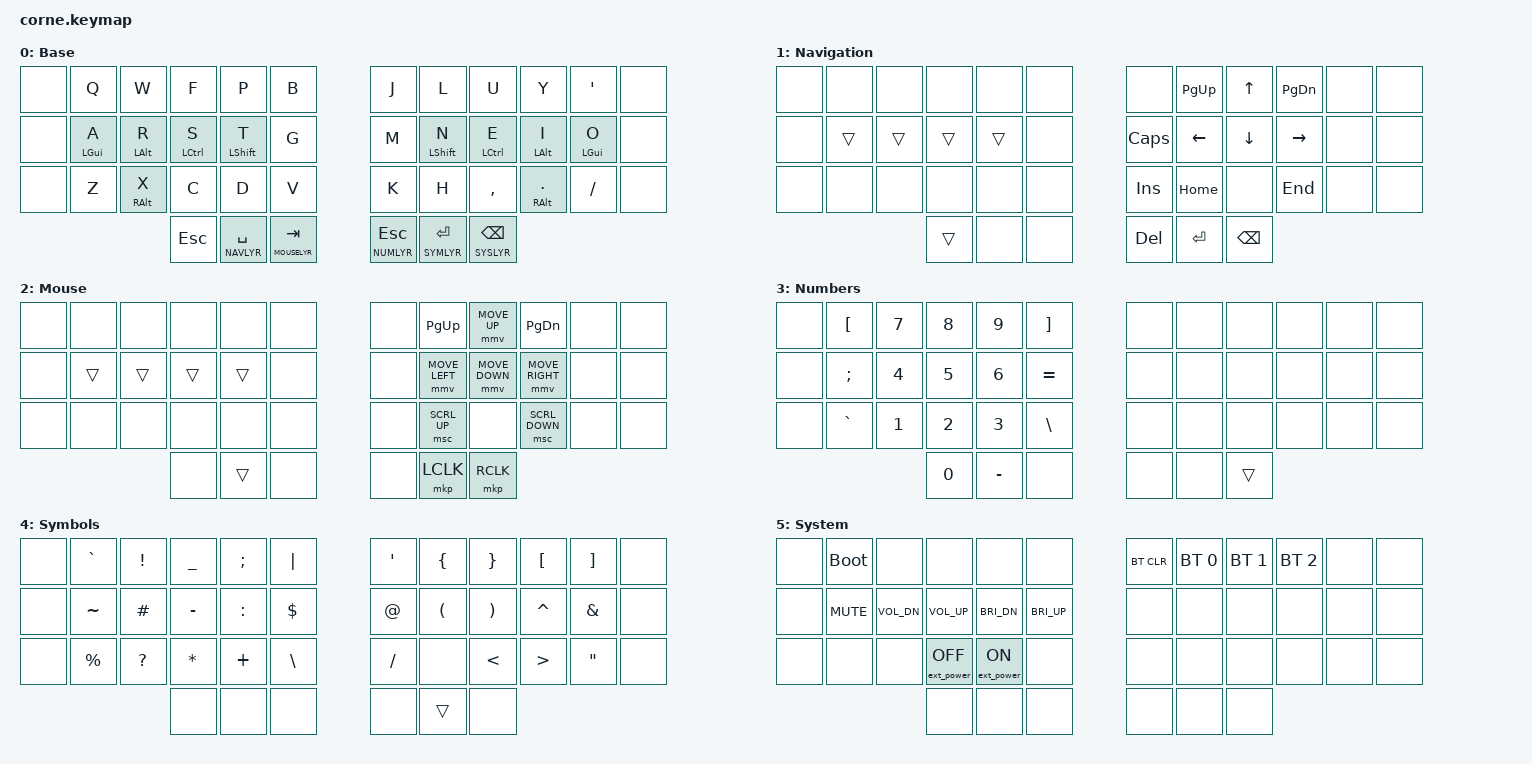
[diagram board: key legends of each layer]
// Mouse movement settings
#define ZMK_POINTING_DEFAULT_MOVE_VAL 1500  // default: 600
#define ZMK_POINTING_DEFAULT_SCRL_VAL 10    // default: 10

#include <behaviors.dtsi>
#include <dt-bindings/zmk/keys.h>
#include <dt-bindings/zmk/bt.h>
#include <dt-bindings/zmk/rgb.h>
#include <dt-bindings/zmk/outputs.h>
#include <dt-bindings/zmk/pointing.h>
#include <dt-bindings/zmk/ext_power.h>

// Define layers to match QMK
#define BASE 0  // Base layer
#define NAVLYR 1    // Layer 1
#define MOUSELYR 2    // Layer 2
#define NUMLYR 3    // Layer 4
#define SYMLYR 4    // Layer 5
#define SYSLYR 5    // Layer 5

&led_strip {
    chain-length = <27>;
};

&mt {
    flavor = "tap-preferred";
    tapping-term-ms = <155>; // leave at 190
};

&lt {
    flavor = "tap-preferred";
    tapping-term-ms = <155>; // leave at 190
};

/ {
    keymap {
        compatible = "zmk,keymap";

        default_layer {
            display-name = "Base";
            bindings = <
                &none &kp Q       &kp W       &kp F       &kp P       &kp B            &kp J    &kp L       &kp U       &kp Y      &kp SQT     &none
                &none &mt LGUI A  &mt LALT R  &mt LCTRL S &mt LSHFT T &kp G            &kp M    &mt LSHFT N &mt LCTRL E &mt LALT I &mt LGUI O  &none
                &none &kp Z       &mt RALT X  &kp C       &kp D       &kp V            &kp K    &kp H       &kp COMMA   &mt RALT DOT &kp FSLH  &none
                                       &kp ESC &lt NAVLYR SPACE &lt MOUSELYR TAB            &lt NUMLYR ESC  &lt SYMLYR RET &lt SYSLYR BSPC
            >;
        };

        navigation_layer {
            display-name = "Navigation";
            bindings = <
                &none &none      &none     &none       &none       &none            &none     &kp PG_UP     &kp UP   &kp PG_DN     &none      &none
                &none &trans      &trans     &trans &trans   &none            &kp CAPS  &kp LEFT  &kp DOWN  &kp RIGHT &none      &none
                &none &none      &none     &none       &none       &none            &kp INS   &kp HOME  &none     &kp END   &none      &none
                                        &trans      &none       &none            &kp DEL     &kp RET   &kp BSPC
            >;
        };

        mouse_layer {
            display-name = "Mouse";
            bindings = <
                &none &none     &none     &none     &none      &none            &none       &kp PG_UP  &mmv MOVE_UP   &kp PG_DN    &none       &none
                &none &trans     &trans     &trans     &trans  &none            &none       &mmv MOVE_LEFT &mmv MOVE_DOWN &mmv MOVE_RIGHT &none &none
                &none &none     &none     &none     &none      &none            &none       &msc SCRL_UP &none &msc SCRL_DOWN &none      &none
                                        &none     &trans     &none            &none       &mkp LCLK   &mkp RCLK
            >;
        };

        number_layer {
            display-name = "Numbers";
            bindings = <
                &none &kp LBKT  &kp N7    &kp N8    &kp N9    &kp RBKT            &none    &none    &none    &none    &none    &none
                &none &kp SEMI  &kp N4    &kp N5    &kp N6    &kp EQUAL           &none    &none    &none    &none    &none    &none
                &none &kp GRAVE &kp N1    &kp N2    &kp N3    &kp BSLH            &none    &none    &none    &none    &none    &none
                                        &kp N0    &kp MINUS &none               &none    &none    &trans
            >;
        };

        symbol_layer {
            display-name = "Symbols";
            bindings = <
                &none &kp GRAVE &kp EXCL &kp UNDER &kp SEMI  &kp PIPE           &kp APOS &kp LBRC &kp RBRC &kp LBKT  &kp RBKT &none
                &none &kp TILDE &kp HASH &kp MINUS &kp COLON &kp DLLR           &kp AT   &kp LPAR &kp RPAR &kp CARET &kp AMPS &none
                &none &kp PRCNT &kp QMARK &kp ASTRK &kp PLUS &kp BSLH           &kp FSLH &none &kp LT   &kp GT    &kp DQT  &none
                                        &none     &none     &none              &none     &trans    &none
            >;
        };

        system_layer {
            display-name = "System";
            bindings = <
                &none &bootloader &none        &none             &none &none               &bt BT_CLR &bt BT_SEL 0 &bt BT_SEL 1 &bt BT_SEL 2 &none &none
                &none &kp C_MUTE  &kp C_VOL_DN &kp C_VOL_UP      &kp C_BRI_DN     &kp C_BRI_UP        &none &none &none &none &none &none
                &none &none       &none        &ext_power EP_OFF &ext_power EP_ON &none               &none &none &none &none &none &none
                          &none  &none                    &none        &none &none &none
            >;
        };
    };
};
